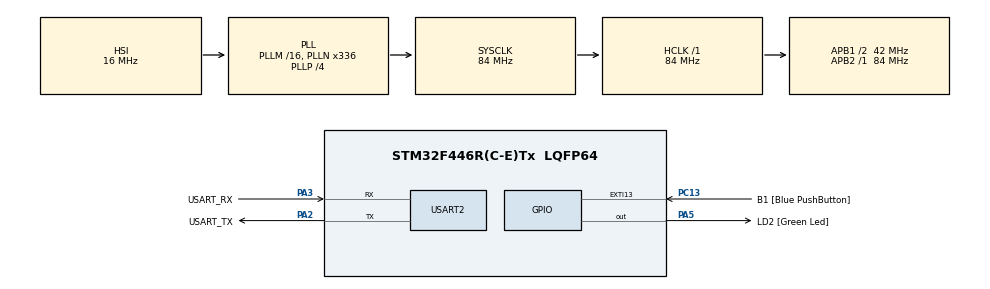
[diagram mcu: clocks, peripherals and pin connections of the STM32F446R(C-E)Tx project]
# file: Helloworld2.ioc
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Mcu.Family=STM32F4
Mcu.Name=STM32F446R(C-E)Tx
Mcu.Package=LQFP64
NVIC.PriorityGroup=NVIC_PRIORITYGROUP_4
NVIC.TIM6_DAC_IRQn=true\:15\:0\:false\:false\:true\:false\:true\:true
NVIC.TimeBase=TIM6_DAC_IRQn
NVIC.TimeBaseIP=TIM6
PA13.GPIO_Label=TMS
PA13.Signal=SYS_JTMS-SWDIO
PA14.GPIO_Label=TCK
PA14.Signal=SYS_JTCK-SWCLK
PA2.GPIO_Label=USART_TX
PA2.Mode=Asynchronous
PA2.Signal=USART2_TX
PA3.GPIO_Label=USART_RX
PA3.Mode=Asynchronous
PA3.Signal=USART2_RX
PA5.GPIO_Label=LD2 [Green Led]
PA5.Signal=GPIO_Output
PB3.GPIO_Label=SWO
PB3.Signal=SYS_JTDO-SWO
PC13.GPIO_Label=B1 [Blue PushButton]
PC13.GPIO_ModeDefaultEXTI=GPIO_MODE_IT_FALLING
PC13.Signal=GPXTI13
PC14-OSC32_IN.Signal=RCC_OSC32_IN
PC15-OSC32_OUT.Signal=RCC_OSC32_OUT
PH0-OSC_IN.Signal=RCC_OSC_IN
PH1-OSC_OUT.Signal=RCC_OSC_OUT
ProjectManager.HeapSize=0x200
ProjectManager.StackSize=0x400
ProjectManager.TargetToolchain=STM32CubeIDE
RCC.AHBFreq_Value=84000000
RCC.APB1CLKDivider=RCC_HCLK_DIV2
RCC.APB1Freq_Value=42000000
RCC.APB1TimFreq_Value=84000000
RCC.APB2Freq_Value=84000000
RCC.APB2TimFreq_Value=84000000
RCC.CortexFreq_Value=84000000
RCC.FLatency-AdvancedSettings=FLASH_LATENCY_2
RCC.HCLKFreq_Value=84000000
RCC.HSE_VALUE=8000000
RCC.HSI_VALUE=16000000
RCC.LSE_VALUE=32768
RCC.PLLN=336
RCC.PLLP=RCC_PLLP_DIV4
RCC.SYSCLKFreq_VALUE=84000000
RCC.SYSCLKSource=RCC_SYSCLKSOURCE_PLLCLK
RCC.USBFreq_Value=168000000
RCC.VCOOutputFreq_Value=336000000
USART2.VirtualMode=VM_ASYNC
VP_SYS_VS_tim6.Mode=TIM6
board=NUCLEO-F446RE

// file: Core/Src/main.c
/* USER CODE BEGIN Header */
/**
  ******************************************************************************
  * @file           : main.c
  * @brief          : Main program body
  ******************************************************************************
  * @attention
  *
  * Copyright (c) 2024 STMicroelectronics.
  * All rights reserved.
  *
  * This software is licensed under terms that can be found in the LICENSE file
  * in the root directory of this software component.
  * If no LICENSE file comes with this software, it is provided AS-IS.
  *
  ******************************************************************************
  */
/* USER CODE END Header */
#include "main.h"
#include "usart.h"
#include "gpio.h"

/* USER CODE BEGIN Includes */
#include "FreeRTOS.h"
#include "task.h"
/* USER CODE END Includes */

/* USER CODE BEGIN PD */
#define mainTASK_PRIORITY    ( tskIDLE_PRIORITY + 2 )
/* USER CODE END PD */

void SystemClock_Config(void);
/* USER CODE BEGIN PFP */
void vTaskFunction1(void *pvParameters);
void vTaskFunction2(void *pvParameters);
/* USER CODE END PFP */

int main(void)
{

  /* MCU Configuration--------------------------------------------------------*/

  /* Reset of all peripherals, Initializes the Flash interface and the Systick. */
  HAL_Init();

  /* Configure the system clock */
  SystemClock_Config();

  /* Initialize all configured peripherals */
  MX_GPIO_Init();
  MX_USART2_UART_Init();
  /* USER CODE BEGIN 2 */
  xTaskCreate(
    		// Function which implements the task
    		vTaskFunction1,
    		// Name of the task (debug purposes, not used by the kernel)
    		"Task1",
    		// Stack to allocate to the task
    		configMINIMAL_STACK_SIZE,
    		// Parameter passed to the task. Not needed for Hello World example
    		NULL,
    		// Priority assigned to the task
    		mainTASK_PRIORITY,
    		// Task handle. Not required
    		NULL
    	);

  xTaskCreate(
    		// Function which implements the task
    		vTaskFunction2,
    		// Name of the task (debug purposes, not used by the kernel)
    		"Task2",
    		// Stack to allocate to the task
    		configMINIMAL_STACK_SIZE,
    		// Parameter passed to the task. Not needed for Hello World example
    		NULL,
    		// Priority assigned to the task
    		mainTASK_PRIORITY,
    		// Task handle. Not required
    		NULL
    	);

  // Give control to the scheduler
  vTaskStartScheduler();

  /* USER CODE END 2 */

  /* Infinite loop */
  while (1)
  {

  }
}

void SystemClock_Config(void)
{
  RCC_OscInitTypeDef RCC_OscInitStruct = {0};
  RCC_ClkInitTypeDef RCC_ClkInitStruct = {0};

  /** Configure the main internal regulator output voltage
  */
  __HAL_RCC_PWR_CLK_ENABLE();
  __HAL_PWR_VOLTAGESCALING_CONFIG(PWR_REGULATOR_VOLTAGE_SCALE3);

  /** Initializes the RCC Oscillators according to the specified parameters
  * in the RCC_OscInitTypeDef structure.
  */
  RCC_OscInitStruct.OscillatorType = RCC_OSCILLATORTYPE_HSI;
  RCC_OscInitStruct.HSIState = RCC_HSI_ON;
  RCC_OscInitStruct.HSICalibrationValue = RCC_HSICALIBRATION_DEFAULT;
  RCC_OscInitStruct.PLL.PLLState = RCC_PLL_ON;
  RCC_OscInitStruct.PLL.PLLSource = RCC_PLLSOURCE_HSI;
  RCC_OscInitStruct.PLL.PLLM = 16;
  RCC_OscInitStruct.PLL.PLLN = 336;
  RCC_OscInitStruct.PLL.PLLP = RCC_PLLP_DIV4;
  RCC_OscInitStruct.PLL.PLLQ = 2;
  RCC_OscInitStruct.PLL.PLLR = 2;
  if (HAL_RCC_OscConfig(&RCC_OscInitStruct) != HAL_OK)
  {
    Error_Handler();
  }

  /** Initializes the CPU, AHB and APB buses clocks
  */
  RCC_ClkInitStruct.ClockType = RCC_CLOCKTYPE_HCLK|RCC_CLOCKTYPE_SYSCLK
                              |RCC_CLOCKTYPE_PCLK1|RCC_CLOCKTYPE_PCLK2;
  RCC_ClkInitStruct.SYSCLKSource = RCC_SYSCLKSOURCE_PLLCLK;
  RCC_ClkInitStruct.AHBCLKDivider = RCC_SYSCLK_DIV1;
  RCC_ClkInitStruct.APB1CLKDivider = RCC_HCLK_DIV2;
  RCC_ClkInitStruct.APB2CLKDivider = RCC_HCLK_DIV1;

  if (HAL_RCC_ClockConfig(&RCC_ClkInitStruct, FLASH_LATENCY_2) != HAL_OK)
  {
    Error_Handler();
  }
}

/* USER CODE BEGIN 4 */
void vTaskFunction1(void *pvParameters) {

	// Avoid warning about unused pvParameters
	(void) pvParameters;
	//uint8_t str[] = "Hello world!\r\n";
	GPIO_PinState arr[10];
	for(;;){
		for (int i=0;i<10;i++) {
        // Task code: print a message
			arr[i]= HAL_GPIO_ReadPin(GPIOC,GPIO_PIN_13);
			vTaskDelay(pdMS_TO_TICKS(1));
    	//HAL_Delay(1000);
		}
		for (int i=0;i<10;i++){
			if (arr[i]){
				HAL_GPIO_WritePin(GPIOA,GPIO_PIN_5,GPIO_PIN_SET);
			}else HAL_GPIO_WritePin(GPIOA,GPIO_PIN_5,GPIO_PIN_RESET);

		}
	}
}

void vTaskFunction2(void *pvParameters) {

	// Avoid warning about unused pvParameters
	(void) pvParameters;
	//uint8_t str[] = "Hello world!\r\n";

    for (;;) {
        // Task code: print a message
    	/*HAL_UART_Transmit(&huart2, (uint8_t*)"Hello world2!\r\n", 15, 1000);
    	//HAL_Delay(1000);
    	GPIO_PinState logical_value = HAL_GPIO_ReadPin(GPIOC,GPIO_PIN_13);
    	HAL_GPIO_WritePin(GPIOC,GPIO_PIN_13,logical_value);*/
    }
}

void HAL_GPIO_EXTI_Callback(uint16_t GPIO_Pin){
	HAL_UART_Transmit(&huart2, (uint8_t*)"Hello world!\r\n", 14, 1000);
}
/* USER CODE END 4 */

void HAL_TIM_PeriodElapsedCallback(TIM_HandleTypeDef *htim)
{
  if (htim->Instance == TIM6) {
    HAL_IncTick();
  }
}

void Error_Handler(void)
{
  __disable_irq();
  while (1)
  {
  }
}
